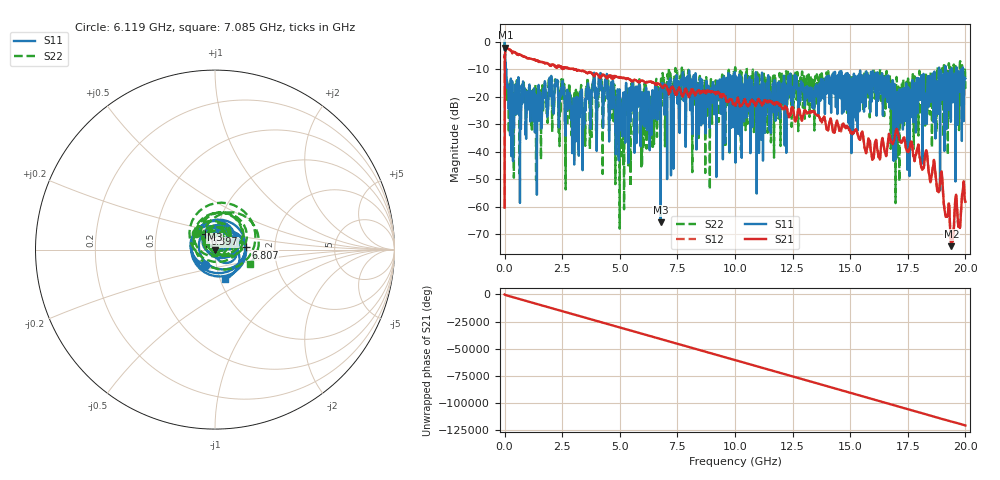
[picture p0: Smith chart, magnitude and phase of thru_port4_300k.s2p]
! MS46122B
! 2250307/22442219
! 2/13/2026 1:51:09 PM
! C:\USERS\SPARKY\DOCUMENTS\VNA_DATA\FEB13_2026\THRU_PORT4_300K.S2P
! CHANNEL.1
! TR.MEASUREMENT
! RAW.DATA
# GHZ S RI R 50.0
! FREQ.GHZ  S11RE  S11IM  S21RE  S21IM  S12RE  S12IM  S22RE  S22IM
!; PortSelection: Port_12
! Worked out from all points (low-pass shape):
!   10001 points, 1 MHz to 20 GHz, reference 50 ohm
!   highest |S21| = -2.26 dB at 33 MHz (marker M1); lowest = -74.3 dB at 19.39 GHz (marker M2)
!   |S21| within 3 dB of the highest: 8.985 MHz to 9.128 MHz (143.2 kHz wide, 1.58 % of centre); 19.19 MHz to 779 MHz (759.8 MHz wide, 190 % of centre)
!   lowest |S11| = -65.6 dB at 6.779 GHz (marker M3), VSWR 1.00, Z = 49.9 - j0.0021 ohm
!   |S11| at or under -10 dB: 73.17 MHz to 18.85 GHz (18.78 GHz wide, 198 % of centre); 19.15 GHz to 19.4 GHz (253.1 MHz wide, 1.31 % of centre); 19.62 GHz to 19.87 GHz (253.2 MHz wide, 1.28 % of centre) (the widest 3 of 7)
!   |S22| runs from -68.0 to -0.1 dB; largest |S21 - S12| = 0.057
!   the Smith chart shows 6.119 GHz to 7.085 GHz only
!   S11 on the Smith chart (normalised r, x): 6.119 GHz: 0.88, -0.15; 6.397 GHz: 0.88, +0.15; 6.807 GHz: 1.41, +0.03; 7.085 GHz: 1.05, -0.36
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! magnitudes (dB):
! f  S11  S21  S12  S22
! 1 MHz  0.4  -60.3  -60.4  -0.1
! 33 MHz  -8.4  -2.3  -2.6  -11.6
! 127 MHz  -15.8  -2.5  -2.5  -22.1
! 385 MHz  -26.1  -3.7  -3.7  -19.5
! 2.243 GHz  -15.0  -9.0  -8.9  -14.7
! 3.335 GHz  -19.7  -10.7  -10.7  -16.9
! 4.135 GHz  -15.6  -12.6  -12.5  -16.7
! 4.873 GHz  -28.6  -12.7  -12.7  -20.4
! 6.119 GHz  -19.9  -14.8  -14.9  -17.0
! 6.397 GHz  -19.8  -14.7  -14.7  -19.8
! 6.669 GHz  -19.2  -15.3  -15.3  -23.5
! 6.779 GHz  -65.6  -16.0  -15.9  -15.4
! 6.807 GHz  -15.3  -16.1  -16.0  -15.5
! 7.085 GHz  -15.2  -17.6  -17.5  -13.6
! 10 GHz  -12.3  -23.3  -23.3  -9.9
! 13.33 GHz  -16.9  -25.6  -25.4  -14.3
! 15.96 GHz  -11.8  -42.9  -43.0  -11.5
! 16.67 GHz  -13.5  -33.9  -34.0  -13.5
! 18.31 GHz  -19.9  -39.5  -39.7  -13.1
! 18.97 GHz  -15.1  -47.2  -47.2  -14.6
! 19.39 GHz  -11.4  -74.3  -73.7  -14.2
! 20 GHz  -13.4  -58.1  -58.6  -17.1
